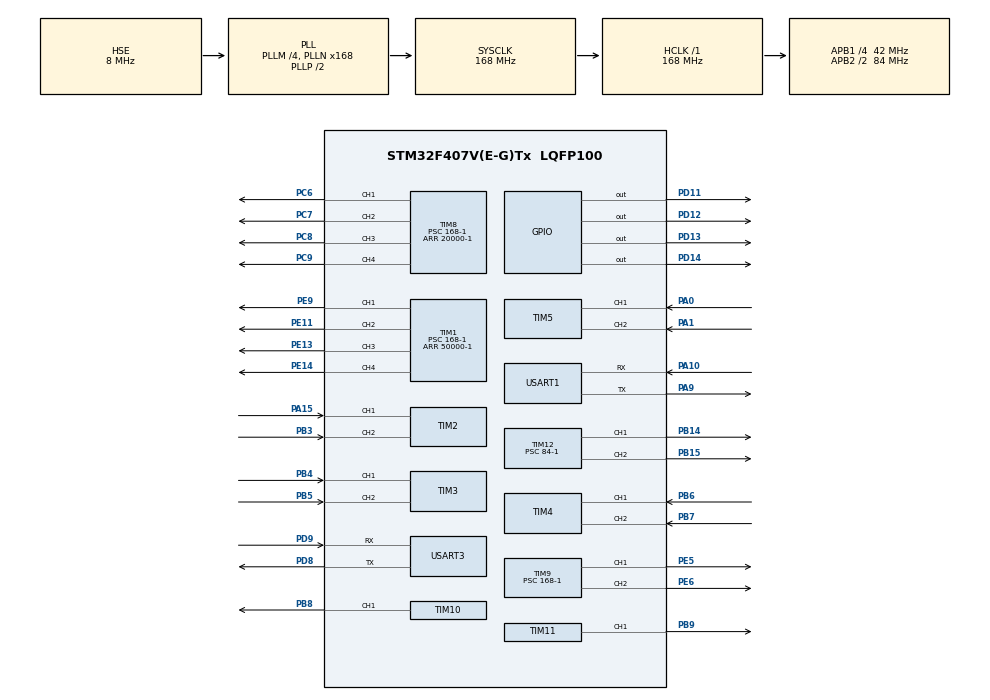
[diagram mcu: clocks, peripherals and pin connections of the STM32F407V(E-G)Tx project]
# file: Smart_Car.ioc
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FREERTOS.Tasks01=defaultTask,24,128,StartDefaultTask,Default,NULL,Dynamic,NULL,NULL
Mcu.Family=STM32F4
Mcu.Name=STM32F407V(E-G)Tx
Mcu.Package=LQFP100
NVIC.PriorityGroup=NVIC_PRIORITYGROUP_4
NVIC.TIM2_IRQn=true\:5\:0\:false\:false\:true\:true\:true\:true\:true
NVIC.TIM3_IRQn=true\:5\:0\:false\:false\:true\:true\:true\:true\:true
NVIC.TIM4_IRQn=true\:5\:0\:false\:false\:true\:true\:true\:true\:true
NVIC.TIM5_IRQn=true\:5\:0\:false\:false\:true\:true\:true\:true\:true
NVIC.TIM6_DAC_IRQn=true\:5\:0\:false\:false\:true\:true\:true\:true\:true
NVIC.TIM8_TRG_COM_TIM14_IRQn=true\:5\:0\:false\:false\:true\:false\:false\:true\:true
NVIC.TimeBase=TIM8_TRG_COM_TIM14_IRQn
NVIC.TimeBaseIP=TIM14
NVIC.USART3_IRQn=true\:5\:0\:false\:false\:true\:true\:true\:true\:true
PA0-WKUP.Signal=S_TIM5_CH1
PA1.Signal=S_TIM5_CH2
PA10.Mode=Asynchronous
PA10.Signal=USART1_RX
PA13.Mode=Serial_Wire
PA13.Signal=SYS_JTMS-SWDIO
PA14.Mode=Serial_Wire
PA14.Signal=SYS_JTCK-SWCLK
PA15.Signal=S_TIM2_CH1_ETR
PA9.Mode=Asynchronous
PA9.Signal=USART1_TX
PB14.Signal=S_TIM12_CH1
PB15.Signal=S_TIM12_CH2
PB3.Signal=S_TIM2_CH2
PB4.Signal=S_TIM3_CH1
PB5.Signal=S_TIM3_CH2
PB6.Signal=S_TIM4_CH1
PB7.Signal=S_TIM4_CH2
PB8.Signal=S_TIM10_CH1
PB9.Signal=S_TIM11_CH1
PC6.Signal=S_TIM8_CH1
PC7.Signal=S_TIM8_CH2
PC8.Signal=S_TIM8_CH3
PC9.Signal=S_TIM8_CH4
PD11.Signal=GPIO_Output
PD12.Signal=GPIO_Output
PD13.GPIO_ModeDefaultOutputPP=GPIO_MODE_OUTPUT_PP
PD13.GPIO_PuPd=GPIO_NOPULL
PD13.GPIO_Speed=GPIO_SPEED_FREQ_HIGH
PD13.Signal=GPIO_Output
PD14.GPIO_ModeDefaultOutputPP=GPIO_MODE_OUTPUT_PP
PD14.GPIO_PuPd=GPIO_NOPULL
PD14.GPIO_Speed=GPIO_SPEED_FREQ_HIGH
PD14.Signal=GPIO_Output
PD8.Mode=Asynchronous
PD8.Signal=USART3_TX
PD9.Mode=Asynchronous
PD9.Signal=USART3_RX
PE11.Signal=S_TIM1_CH2
PE13.Signal=S_TIM1_CH3
PE14.Signal=S_TIM1_CH4
PE5.Signal=S_TIM9_CH1
PE6.Signal=S_TIM9_CH2
PE9.Signal=S_TIM1_CH1
PH0-OSC_IN.Mode=HSE-External-Oscillator
PH0-OSC_IN.Signal=RCC_OSC_IN
PH1-OSC_OUT.Mode=HSE-External-Oscillator
PH1-OSC_OUT.Signal=RCC_OSC_OUT
ProjectManager.HeapSize=0x200
ProjectManager.StackSize=0x400
ProjectManager.TargetToolchain=Makefile
RCC.48MHZClocksFreq_Value=84000000
RCC.AHBFreq_Value=168000000
RCC.APB1CLKDivider=RCC_HCLK_DIV4
RCC.APB1Freq_Value=42000000
RCC.APB1TimFreq_Value=84000000
RCC.APB2CLKDivider=RCC_HCLK_DIV2
RCC.APB2Freq_Value=84000000
RCC.APB2TimFreq_Value=168000000
RCC.CortexFreq_Value=168000000
RCC.HCLKFreq_Value=168000000
RCC.HSE_VALUE=8000000
RCC.HSI_VALUE=16000000
RCC.LSE_VALUE=32768
RCC.PLLM=4
RCC.PLLN=168
RCC.PLLSourceVirtual=RCC_PLLSOURCE_HSE
RCC.SYSCLKFreq_VALUE=168000000
RCC.SYSCLKSource=RCC_SYSCLKSOURCE_PLLCLK
RCC.VCOOutputFreq_Value=336000000
SH.S_TIM10_CH1.0=TIM10_CH1,PWM Generation1 CH1
SH.S_TIM11_CH1.0=TIM11_CH1,PWM Generation1 CH1
SH.S_TIM12_CH1.0=TIM12_CH1,PWM Generation1 CH1
SH.S_TIM12_CH2.0=TIM12_CH2,PWM Generation2 CH2
SH.S_TIM1_CH1.0=TIM1_CH1,PWM Generation1 CH1
SH.S_TIM1_CH2.0=TIM1_CH2,PWM Generation2 CH2
SH.S_TIM1_CH3.0=TIM1_CH3,PWM Generation3 CH3
SH.S_TIM1_CH4.0=TIM1_CH4,PWM Generation4 CH4
SH.S_TIM2_CH1_ETR.0=TIM2_CH1,Encoder_Interface
SH.S_TIM2_CH2.0=TIM2_CH2,Encoder_Interface
SH.S_TIM3_CH1.0=TIM3_CH1,Encoder_Interface
SH.S_TIM3_CH2.0=TIM3_CH2,Encoder_Interface
SH.S_TIM4_CH1.0=TIM4_CH1,Encoder_Interface
SH.S_TIM4_CH2.0=TIM4_CH2,Encoder_Interface
SH.S_TIM5_CH1.0=TIM5_CH1,Encoder_Interface
SH.S_TIM5_CH2.0=TIM5_CH2,Encoder_Interface
SH.S_TIM8_CH1.0=TIM8_CH1,PWM Generation1 CH1
SH.S_TIM8_CH2.0=TIM8_CH2,PWM Generation2 CH2
SH.S_TIM8_CH3.0=TIM8_CH3,PWM Generation3 CH3
SH.S_TIM8_CH4.0=TIM8_CH4,PWM Generation4 CH4
SH.S_TIM9_CH1.0=TIM9_CH1,PWM Generation1 CH1
SH.S_TIM9_CH2.0=TIM9_CH2,PWM Generation2 CH2
TIM1.Channel-PWM\ Generation1\ CH1=TIM_CHANNEL_1
TIM1.Channel-PWM\ Generation2\ CH2=TIM_CHANNEL_2
TIM1.Channel-PWM\ Generation3\ CH3=TIM_CHANNEL_3
TIM1.Channel-PWM\ Generation4\ CH4=TIM_CHANNEL_4
TIM1.Period=50000-1
TIM1.Prescaler=168-1
TIM10.Channel=TIM_CHANNEL_1
TIM10.Period=50000-1
TIM10.Prescaler=168-1
TIM11.Channel=TIM_CHANNEL_1
TIM11.Period=50000-1
TIM11.Prescaler=168-1
TIM12.Channel-PWM\ Generation1\ CH1=TIM_CHANNEL_1
TIM12.Channel-PWM\ Generation2\ CH2=TIM_CHANNEL_2
TIM12.Period=20000-1
TIM12.Prescaler=84-1
TIM2.EncoderMode=TIM_ENCODERMODE_TI12
TIM3.EncoderMode=TIM_ENCODERMODE_TI12
TIM4.EncoderMode=TIM_ENCODERMODE_TI12
TIM5.EncoderMode=TIM_ENCODERMODE_TI12
TIM6.Period=5000-1
TIM6.Prescaler=168-1
TIM8.Channel-PWM\ Generation1\ CH1=TIM_CHANNEL_1
TIM8.Channel-PWM\ Generation2\ CH2=TIM_CHANNEL_2
TIM8.Channel-PWM\ Generation3\ CH3=TIM_CHANNEL_3
TIM8.Channel-PWM\ Generation4\ CH4=TIM_CHANNEL_4
TIM8.Period=20000-1
TIM8.Prescaler=168-1
TIM9.Channel-PWM\ Generation1\ CH1=TIM_CHANNEL_1
TIM9.Channel-PWM\ Generation2\ CH2=TIM_CHANNEL_2
TIM9.Period=50000-1
TIM9.Prescaler=168-1
USART1.VirtualMode=VM_ASYNC
USART3.VirtualMode=VM_ASYNC
VP_FREERTOS_VS_CMSIS_V2.Mode=CMSIS_V2
VP_SYS_VS_tim14.Mode=TIM14
VP_TIM10_VS_ClockSourceINT.Mode=Enable_Timer
VP_TIM11_VS_ClockSourceINT.Mode=Enable_Timer
VP_TIM12_VS_ClockSourceINT.Mode=Internal
VP_TIM1_VS_ClockSourceINT.Mode=Internal
VP_TIM6_VS_ClockSourceINT.Mode=Enable_Timer
VP_TIM8_VS_ClockSourceINT.Mode=Internal
VP_TIM9_VS_ClockSourceINT.Mode=Internal
board=custom

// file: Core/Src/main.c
/* USER CODE BEGIN Header */
/**
 ******************************************************************************
 * @file           : main.c
 * @brief          : Main program body
 ******************************************************************************
 * @attention
 *
 * Copyright (c) 2023 STMicroelectronics.
 * All rights reserved.
 *
 * This software is licensed under terms that can be found in the LICENSE file
 * in the root directory of this software component.
 * If no LICENSE file comes with this software, it is provided AS-IS.
 *
 ******************************************************************************
 */
/* USER CODE END Header */
#include "main.h"
#include "cmsis_os.h"
#include "tim.h"
#include "usart.h"
#include "gpio.h"

/* USER CODE BEGIN Includes */
#include "chassis.h"
#include "serial.h"
#include <stdio.h>
/* USER CODE END Includes */

/* USER CODE BEGIN PV */
// State definition
enum State state;
/* USER CODE END PV */

void SystemClock_Config(void);
void MX_FREERTOS_Init(void);

int main(void)
{

    /* MCU Configuration--------------------------------------------------------*/

    /* Reset of all peripherals, Initializes the Flash interface and the Systick. */
    HAL_Init();

    /* Configure the system clock */
    SystemClock_Config();

    /* Initialize all configured peripherals */
    MX_GPIO_Init();
    MX_TIM1_Init();
    MX_TIM2_Init();
    MX_TIM3_Init();
    MX_TIM4_Init();
    MX_TIM5_Init();
    MX_TIM6_Init();
    MX_TIM9_Init();
    MX_TIM10_Init();
    MX_TIM11_Init();
    MX_USART1_UART_Init();
    MX_USART3_UART_Init();
    MX_TIM8_Init();
    MX_TIM12_Init();
    /* USER CODE BEGIN 2 */
    Motor_Init(&motor1, 1, 200, 1, 10);
    Motor_Init(&motor2, 2, 200, 1, 10);
    Motor_Init(&motor3, 3, 200, 1, 10);
    Motor_Init(&motor4, 4, 200, 1, 10);
    Motor_Start(&motor1);
    Motor_Start(&motor2);
    Motor_Start(&motor3);
    Motor_Start(&motor4);
    __HAL_UART_ENABLE_IT(&huart3, UART_IT_RXNE);
    HAL_UART_Receive_IT(&huart3, (uint8_t *)receive_buffer, 1);
    state = IDLE_STATE;
    /* USER CODE END 2 */

    /* Init scheduler */
    osKernelInitialize(); /* Call init function for freertos objects (in freertos.c) */
    MX_FREERTOS_Init();

    /* Start scheduler */
    osKernelStart();

    /* We should never get here as control is now taken by the scheduler */
    /* Infinite loop */
    while (1) {

    }
}

void SystemClock_Config(void)
{
    RCC_OscInitTypeDef RCC_OscInitStruct = {0};
    RCC_ClkInitTypeDef RCC_ClkInitStruct = {0};

    /** Configure the main internal regulator output voltage
     */
    __HAL_RCC_PWR_CLK_ENABLE();
    __HAL_PWR_VOLTAGESCALING_CONFIG(PWR_REGULATOR_VOLTAGE_SCALE1);

    /** Initializes the RCC Oscillators according to the specified parameters
     * in the RCC_OscInitTypeDef structure.
     */
    RCC_OscInitStruct.OscillatorType = RCC_OSCILLATORTYPE_HSE;
    RCC_OscInitStruct.HSEState       = RCC_HSE_ON;
    RCC_OscInitStruct.PLL.PLLState   = RCC_PLL_ON;
    RCC_OscInitStruct.PLL.PLLSource  = RCC_PLLSOURCE_HSE;
    RCC_OscInitStruct.PLL.PLLM       = 4;
    RCC_OscInitStruct.PLL.PLLN       = 168;
    RCC_OscInitStruct.PLL.PLLP       = RCC_PLLP_DIV2;
    RCC_OscInitStruct.PLL.PLLQ       = 4;
    if (HAL_RCC_OscConfig(&RCC_OscInitStruct) != HAL_OK) {
        Error_Handler();
    }

    /** Initializes the CPU, AHB and APB buses clocks
     */
    RCC_ClkInitStruct.ClockType      = RCC_CLOCKTYPE_HCLK | RCC_CLOCKTYPE_SYSCLK | RCC_CLOCKTYPE_PCLK1 | RCC_CLOCKTYPE_PCLK2;
    RCC_ClkInitStruct.SYSCLKSource   = RCC_SYSCLKSOURCE_PLLCLK;
    RCC_ClkInitStruct.AHBCLKDivider  = RCC_SYSCLK_DIV1;
    RCC_ClkInitStruct.APB1CLKDivider = RCC_HCLK_DIV4;
    RCC_ClkInitStruct.APB2CLKDivider = RCC_HCLK_DIV2;

    if (HAL_RCC_ClockConfig(&RCC_ClkInitStruct, FLASH_LATENCY_5) != HAL_OK) {
        Error_Handler();
    }
}

// void HAL_TIM_PeriodElapsedCallback(TIM_HandleTypeDef *htim)
// {
//   /* USER CODE BEGIN Callback 0 */

//   /* USER CODE END Callback 0 */
//   if (htim->Instance == TIM14) {
//     HAL_IncTick();
//   }
//   /* USER CODE BEGIN Callback 1 */

//   /* USER CODE END Callback 1 */
// }

void Error_Handler(void)
{
    __disable_irq();
    while (1) {
    }
}

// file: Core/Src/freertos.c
/* USER CODE BEGIN Header */
/**
 ******************************************************************************
 * File Name          : freertos.c
 * Description        : Code for freertos applications
 ******************************************************************************
 * @attention
 *
 * Copyright (c) 2023 STMicroelectronics.
 * All rights reserved.
 *
 * This software is licensed under terms that can be found in the LICENSE file
 * in the root directory of this software component.
 * If no LICENSE file comes with this software, it is provided AS-IS.
 *
 ******************************************************************************
 */
/* USER CODE END Header */

#include "FreeRTOS.h"
#include "task.h"
#include "main.h"
#include "cmsis_os.h"

/* USER CODE BEGIN Includes */
#include "chassis.h"
#include "stdio.h"
#include "oled.h"
#include "serial.h"
/* USER CODE END Includes */

/* USER CODE BEGIN Variables */
// Thread definition
osThreadId_t stateTaskHandle;
const osThreadAttr_t stateTask_attributes = {
    .name       = "stateTask",
    .stack_size = 128 * 4,
    .priority   = (osPriority_t)osPriorityNormal,
};
osThreadId_t oledTaskHandle;
const osThreadAttr_t oledTask_attributes = {
    .name       = "oledTask",
    .stack_size = 128 * 4,
    .priority   = (osPriority_t)osPriorityNormal,
};
osThreadId_t steerTaskHandle;
const osThreadAttr_t steerTask_attributes = {
    .name       = "steerTask",
    .stack_size = 128 * 4,
    .priority   = (osPriority_t)osPriorityNormal,
};
osThreadId_t decodeTaskHandle;
const osThreadAttr_t decodeTask_attributes = {
    .name       = "decodeTask",
    .stack_size = 128 * 4,
    .priority   = (osPriority_t)osPriorityNormal,
};
osThreadId_t chassisTaskHandle;
const osThreadAttr_t chassisTask_attributes = {
    .name       = "chassisTask",
    .stack_size = 128 * 4,
    .priority   = (osPriority_t)osPriorityNormal,
};
/* USER CODE END Variables */
/* Definitions for defaultTask */
osThreadId_t defaultTaskHandle;
const osThreadAttr_t defaultTask_attributes = {
    .name       = "defaultTask",
    .stack_size = 128 * 4,
    .priority   = (osPriority_t)osPriorityNormal,
};

/* USER CODE BEGIN FunctionPrototypes */
void StateTask(void *argument);
void OLEDTask(void *argument);
void SteerTask(void *argument);
void DecodeTask(void *argument);
void ChassisTask(void *argument);
/* USER CODE END FunctionPrototypes */

void StartDefaultTask(void *argument);

void MX_FREERTOS_Init(void); /* (MISRA C 2004 rule 8.1) */

void MX_FREERTOS_Init(void)
{

    /* Create the thread(s) */
    /* creation of defaultTask */
    defaultTaskHandle = osThreadNew(StartDefaultTask, NULL, &defaultTask_attributes);

    /* USER CODE BEGIN RTOS_THREADS */
    /* add threads, ... */
    stateTaskHandle   = osThreadNew(StateTask, NULL, &stateTask_attributes);
    chassisTaskHandle = osThreadNew(ChassisTask, NULL, &chassisTask_attributes);
    oledTaskHandle    = osThreadNew(OLEDTask, NULL, &oledTask_attributes);
    steerTaskHandle   = osThreadNew(SteerTask, NULL, &steerTask_attributes);
    decodeTaskHandle  = osThreadNew(DecodeTask, NULL, &decodeTask_attributes);
    /* USER CODE END RTOS_THREADS */

}

void StartDefaultTask(void *argument)
{
    for (;;) {
        osDelay(1);
    }
}

/* USER CODE BEGIN Application */
float vx;
float vy;
float wc;

void StateTask(void *argument)
{
    for (;;) {
        if (state == IDLE_STATE) {
            if (ball_r.float_data < 0.1) {
                state = IDLE_STATE;
            } else if (ball_r.float_data > 0.1) {
                state = FIND_STATE;
            }
        }
        if (state == FIND_STATE) {
            if ((ball_x.float_data > 320.0 || ball_x.float_data < 280.0) && ball_x.float_data > 0.1 && ball_y.float_data < 470.0) {
                state = FIND_STATE;
            } else if (ball_x.float_data < 0.1) {
                state = IDLE_STATE;
            } else if (ball_x.float_data > 280.0 && ball_x.float_data < 320.0 && ball_y.float_data < 470.0) {
                state = FOLLOW_STATE;
            } else if (ball_y.float_data > 470.0 && ball_x.float_data > 0.1) {
                state = READY_STATE;
            }
        }
        if (state == FOLLOW_STATE) {
            if ((ball_x.float_data > 320.0 || ball_x.float_data < 280.0) && ball_x.float_data > 0.1 && ball_y.float_data < 470.0) {
                state = FIND_STATE;
            } else if (ball_x.float_data < 0.1) {
                state = IDLE_STATE;
            } else if (ball_y.float_data > 470.0 && ball_x.float_data > 0.1) {
                state = READY_STATE;
            }
        }
        if (state == READY_STATE) {
            if (ball_x.float_data > 320.0 && ball_x.float_data > 0.1) {
                Inverse_kinematic_equation(0.0, -0.1, 0.0);
            } else if (ball_x.float_data < 280.0 && ball_x.float_data > 0.1) {
                Inverse_kinematic_equation(0.0, 0.1, 0.0);
            } else {
                state = GRIP_STATE;
            }
        }
        osDelay(10);
    }
}

void OLEDTask(void *argument)
{
    OLED_Init();
    for (;;) {
        OLED_ShowString(0, 0, (char *)("Speed:"), 6, 0);
        OLED_ShowNum(0, 1, (uint32_t)(ball_x.float_data), 3, 6, 0);
        OLED_ShowNum(0, 2, (uint32_t)(ball_y.float_data), 3, 6, 0);
        OLED_ShowNum(0, 3, (uint32_t)(ball_r.float_data), 3, 6, 0);
        OLED_ShowString(0, 4, (char *)("State:"), 6, 0);
        if (state == IDLE_STATE) {
            OLED_ShowNum(0, 5, (uint32_t)(0), 3, 6, 0);
        }
        if (state == FIND_STATE) {
            OLED_ShowNum(0, 5, (uint32_t)(1), 3, 6, 0);
        }
        if (state == FOLLOW_STATE) {
            OLED_ShowNum(0, 5, (uint32_t)(2), 3, 6, 0);
        }
        if (state == GRIP_STATE) {
            OLED_ShowNum(0, 5, (uint32_t)(3), 3, 6, 0);
        }
        if (state == READY_STATE) {
            OLED_ShowNum(0, 5, (uint32_t)(4), 3, 6, 0);
        }
        osDelay(10);
    }
}

void DecodeTask(void *argument)
{
    for (;;) {
        Serial_Decode();
        osDelay(10);
    }
}

void SteerTask(void *argument)
{
    static int count = 0;
    HAL_TIM_PWM_Start(&htim8, TIM_CHANNEL_4);
    __HAL_TIM_SET_COMPARE(&htim8, TIM_CHANNEL_4, 1150);

    for (;;) {
        if (state == IDLE_STATE || state == FOLLOW_STATE || state == FIND_STATE || state == READY_STATE) {
            HAL_TIM_PWM_Start(&htim12, TIM_CHANNEL_1);
            __HAL_TIM_SET_COMPARE(&htim12, TIM_CHANNEL_1, 1200);
            HAL_TIM_PWM_Start(&htim8, TIM_CHANNEL_3);
            __HAL_TIM_SET_COMPARE(&htim8, TIM_CHANNEL_3, 900);
            HAL_TIM_PWM_Start(&htim8, TIM_CHANNEL_2);
            __HAL_TIM_SET_COMPARE(&htim8, TIM_CHANNEL_2, 1200);
            HAL_TIM_PWM_Start(&htim8, TIM_CHANNEL_1);
            __HAL_TIM_SET_COMPARE(&htim8, TIM_CHANNEL_1, 1750);
        }
        if (state == GRIP_STATE) {
            if (count == 0) {
                Inverse_kinematic_equation(0.1, 0.0, 0.0);
                osDelay(10);
                count++;
            }
            if (count == 1) {
                Inverse_kinematic_equation(0.0, 0.0, 0.0);
                Motor_Stop(&motor1);
                Motor_Stop(&motor2);
                Motor_Stop(&motor3);
                Motor_Stop(&motor4);
                HAL_TIM_PWM_Start(&htim12, TIM_CHANNEL_1);
                __HAL_TIM_SET_COMPARE(&htim12, TIM_CHANNEL_1, 2000);
                HAL_TIM_PWM_Start(&htim8, TIM_CHANNEL_3);
                __HAL_TIM_SET_COMPARE(&htim8, TIM_CHANNEL_3, 1600);
                HAL_TIM_PWM_Start(&htim8, TIM_CHANNEL_1);
                __HAL_TIM_SET_COMPARE(&htim8, TIM_CHANNEL_1, 1750);
                osDelay(2000);
                count++;
            } else if (count == 2) {
                HAL_TIM_PWM_Start(&htim12, TIM_CHANNEL_1);
                __HAL_TIM_SET_COMPARE(&htim12, TIM_CHANNEL_1, 2000);
                HAL_TIM_PWM_Start(&htim8, TIM_CHANNEL_3);
                __HAL_TIM_SET_COMPARE(&htim8, TIM_CHANNEL_3, 1500);
                HAL_TIM_PWM_Start(&htim8, TIM_CHANNEL_2);
                __HAL_TIM_SET_COMPARE(&htim8, TIM_CHANNEL_2, 1400);
                HAL_TIM_PWM_Start(&htim8, TIM_CHANNEL_1);
                __HAL_TIM_SET_COMPARE(&htim8, TIM_CHANNEL_1, 1750);
                osDelay(1000);
                count++;
            } else if (count == 3) {
                HAL_TIM_PWM_Start(&htim8, TIM_CHANNEL_1);
                __HAL_TIM_SET_COMPARE(&htim8, TIM_CHANNEL_1, 1150);
                osDelay(1000);
                count++;
            } else if (count == 4) {
                HAL_TIM_PWM_Start(&htim8, TIM_CHANNEL_3);
                __HAL_TIM_SET_COMPARE(&htim8, TIM_CHANNEL_3, 1600);
                osDelay(1000);
                count++;
            } else if (count == 5) {
                HAL_TIM_PWM_Start(&htim12, TIM_CHANNEL_1);
                __HAL_TIM_SET_COMPARE(&htim12, TIM_CHANNEL_1, 1200);
                HAL_TIM_PWM_Start(&htim8, TIM_CHANNEL_2);
                __HAL_TIM_SET_COMPARE(&htim8, TIM_CHANNEL_2, 1200);
                osDelay(1000);
                count++;
            } else if (count == 6) {
                HAL_TIM_PWM_Start(&htim8, TIM_CHANNEL_3);
                __HAL_TIM_SET_COMPARE(&htim8, TIM_CHANNEL_3, 900);
                osDelay(1000);
                count++;
            }
        }
        osDelay(1);
    }
}

void ChassisTask(void *argument)
{
    for (;;) {
        if (state == IDLE_STATE) {
            Inverse_kinematic_equation(0.0, 0.0, 0.0);
        }
        if (state == GRIP_STATE) {
            ;
        }
        if (state == FIND_STATE) {
            if (ball_x.float_data > 330.0) {
                Inverse_kinematic_equation(0.0, -0.1, 0.0);
            } else {
                Inverse_kinematic_equation(0.0, 0.1, 0.0);
            }
        }
        if (state == FOLLOW_STATE) {
            Inverse_kinematic_equation(0.2, 0.0, 0.0);
        }
    }
}
/* USER CODE END Application */
